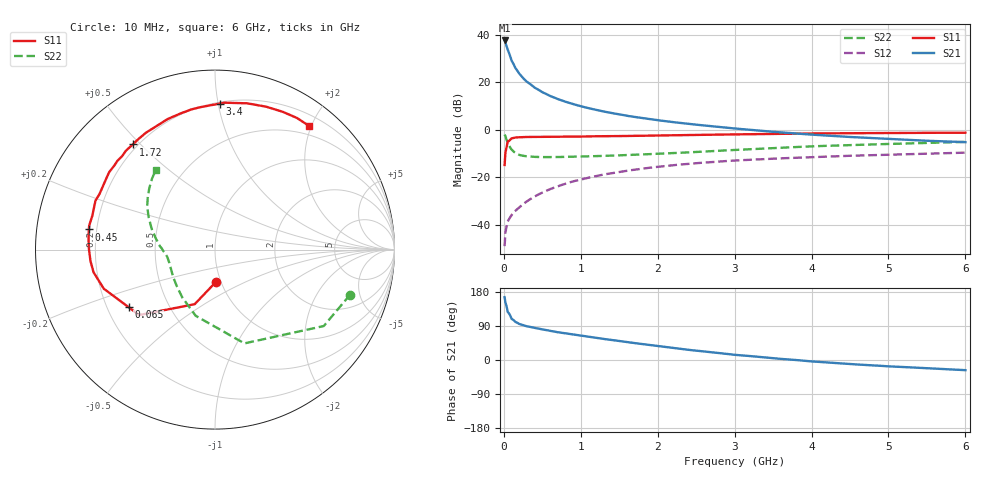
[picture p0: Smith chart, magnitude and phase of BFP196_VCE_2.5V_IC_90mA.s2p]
! Infineon Technologies  Discrete & RF Semiconductors
! BFP196
! VCE = 2.5 V,  IC =  90mA
! Common Emitter S-Parameters:  Jan 2016
# GHz  S  MA  R  50
!  f  S11  S21  S12  S22
! GHz  MAG  ANG  MAG  ANG  MAG  ANG  MAG  ANG
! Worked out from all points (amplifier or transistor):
!   210 points, 10 MHz to 6 GHz, reference 50 ohm
!   highest |S21| = 37.7 dB at 10 MHz (marker M1)
!   |S21| within 3 dB of that: start of sweep to 41.03 MHz
!   unconditionally stable (mu >= 1): 311.3 MHz to 4.932 GHz
!   at 185 MHz: K = 0.86, MSG = 28.8 dB, |S12| = -33.2 dB
!   at 1.52 GHz: K = 1.09, MAG = 10.2 dB, |S12| = -17.7 dB
!   at 6 GHz: K = 0.99, MSG = 2.2 dB, |S12| = -9.7 dB
!   S11 on the Smith chart (normalised r, x): 10 MHz: 0.95, -0.35; 65 MHz: 0.29, -0.28; 450 MHz: 0.17, +0.08; 1.72 GHz: 0.18, +0.47; 3.4 GHz: 0.21, +1.01; 6 GHz: 0.36, +1.97
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0.01  0.1804 -88.4  76.5 165.8  0.0035 74.1  0.7939 -18.4
0.02  0.3243 -110.4  70.13 152.3  0.0067 64.9  0.7407 -35.1
0.05  0.5582 -139.2  49.11 127.1  0.0116 54.3  0.5476 -72.6
0.065  0.5786 -146.3  42.72 123.4  0.0129 53.7  0.4834 -80.2
0.1  0.6566 -160.6  29 108.8  0.0158 52.6  0.384 -106.3
0.15  0.6883 -169.4  20.11 100.4  0.0195 55.3  0.3226 -124.5
0.2  0.6967 -174.7  15.31 95.1  0.0229 58.8  0.2954 -135.8
0.26  0.7013 -179.5  11.85 91.0  0.0278 61.3  0.2806 -145.1
0.3  0.7041 178.3  10.27 88.9  0.0309 62.5  0.2753 -149.2
0.4  0.7099 172.7  7.76 84.5  0.039 65.6  0.2678 -156.7
0.45  0.7115 170.9  6.98 82.9  0.0431 65.9  0.2662 -159.0
0.5  0.7137 169.2  6.207 80.8  0.0473 66.1  0.2651 -161.4
0.6  0.709 164.7  5.176 77.0  0.0557 66.6  0.2649 -164.8
0.7  0.713 161.0  4.453 73.3  0.064 66.4  0.2658 -167.3
1.02  0.7188 149.8  3.076 63.6  0.0908 63.2  0.2718 -172.8
1.72  0.7435 128.0  1.841 44.1  0.1452 53.1  0.2972 178.6
2.02  0.7565 120.1  1.576 36.6  0.1666 48.6  0.3126 174.9
3.1  0.8004 93.9  1.03 12.1  0.2284 31.9  0.381 159.7
3.4  0.8139 88.2  0.935 6.6  0.2414 27.6  0.4028 155.4
4.1  0.8356 76.1  0.771 -5.0  0.2679 18.8  0.4526 146.5
5.1  0.8563 62.7  0.63 -17.6  0.3009 7.6  0.5063 135.8
6  0.8661 52.6  0.548 -26.8  0.3287 -2.5  0.553 126.7
